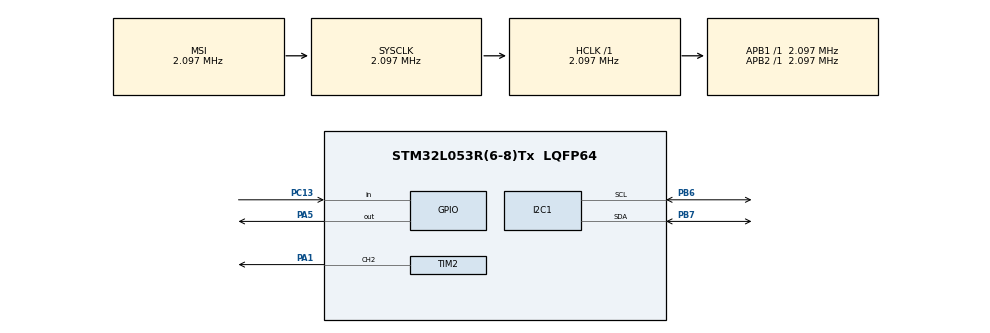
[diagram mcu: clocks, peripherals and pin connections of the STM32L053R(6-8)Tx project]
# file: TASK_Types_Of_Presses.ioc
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Mcu.Family=STM32L0
Mcu.Name=STM32L053R(6-8)Tx
Mcu.Package=LQFP64
PA1.Signal=S_TIM2_CH2
PA13.Mode=Serial_Wire
PA13.Signal=SYS_SWDIO
PA14.Mode=Serial_Wire
PA14.Signal=SYS_SWCLK
PA5.Signal=GPIO_Output
PB6.Mode=I2C
PB6.Signal=I2C1_SCL
PB7.Mode=I2C
PB7.Signal=I2C1_SDA
PC13.Signal=GPIO_Input
PH0-OSC_IN.Mode=HSE-External-Oscillator
PH0-OSC_IN.Signal=RCC_OSC_IN
PH1-OSC_OUT.Mode=HSE-External-Oscillator
PH1-OSC_OUT.Signal=RCC_OSC_OUT
ProjectManager.HeapSize=0x200
ProjectManager.StackSize=0x400
ProjectManager.TargetToolchain=STM32CubeIDE
RCC.AHBFreq_Value=2097000
RCC.APB1Freq_Value=2097000
RCC.APB1TimFreq_Value=2097000
RCC.APB2Freq_Value=2097000
RCC.APB2TimFreq_Value=2097000
RCC.HSE_VALUE=8000000
RCC.HSI16_VALUE=16000000
RCC.HSI48_VALUE=48000000
RCC.HSI_VALUE=16000000
RCC.LSE_VALUE=32768
RCC.MSI_VALUE=2097000
RCC.SYSCLKFreq_VALUE=2097000
RCC.VCOOutputFreq_Value=48000000
SH.S_TIM2_CH2.0=TIM2_CH2,PWM Generation2 CH2
TIM2.Channel-PWM\ Generation2\ CH2=TIM_CHANNEL_2
TIM2.Period=625
TIM2.Prescaler=127
VP_TIM2_VS_ClockSourceINT.Mode=Internal
board=custom

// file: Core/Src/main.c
/* USER CODE BEGIN Header */
/**
  ******************************************************************************
  * @file           : main.c
  * @brief          : Main program body
  ******************************************************************************
  * @attention
  *
  * Copyright (c) 2023 STMicroelectronics.
  * All rights reserved.
  *
  * This software is licensed under terms that can be found in the LICENSE file
  * in the root directory of this software component.
  * If no LICENSE file comes with this software, it is provided AS-IS.
  *
  ******************************************************************************
  */
/* USER CODE END Header */
#include "main.h"

/* USER CODE BEGIN Includes */
#include "fonts.h"
#include "ssd1306.h"
#include "test.h"
/* USER CODE END Includes */

/* USER CODE BEGIN PD */
#define BUTTON_Pin GPIO_PIN_13
#define BUTTON_GPIO_Port GPIOC
#define LED_Pin GPIO_PIN_5
#define LED_GPIO_Port GPIOA
/* USER CODE END PD */

I2C_HandleTypeDef hi2c1;

TIM_HandleTypeDef htim2;

/* USER CODE BEGIN PV */
GPIO_PinState buttonState = GPIO_PIN_RESET;
GPIO_PinState lastButtonState = GPIO_PIN_RESET;
uint32_t buttonPressTime = 0;
uint32_t lastButtonPressTime = 0;
int flag = 0;
/* USER CODE END PV */

void SystemClock_Config(void);
static void MX_GPIO_Init(void);
static void MX_TIM2_Init(void);
static void MX_I2C1_Init(void);

/* USER CODE BEGIN 0 */
void pwm_led(void)
    {
    	for(int x=0; x<1000; x=x+1)
		{
		  __HAL_TIM_SET_COMPARE(&htim2,TIM_CHANNEL_2, x);
		  HAL_Delay(2);
		}
		for(int x=1000; x>0; x=x-1)
		{
		  __HAL_TIM_SET_COMPARE(&htim2,TIM_CHANNEL_2, x);
		  HAL_Delay(2);
		}
    }

void toggle_led(void)
    {
       for(int i=0; i<=2; i++)
	  {
		HAL_GPIO_TogglePin(LED_GPIO_Port, LED_Pin);
		HAL_Delay(500);
	  }
    }
/* USER CODE END 0 */

int main(void)
{

  /* MCU Configuration--------------------------------------------------------*/

  /* Reset of all peripherals, Initializes the Flash interface and the Systick. */
  HAL_Init();

  /* Configure the system clock */
  SystemClock_Config();

  /* Initialize all configured peripherals */
  MX_GPIO_Init();
  MX_TIM2_Init();
  MX_I2C1_Init();
  /* USER CODE BEGIN 2 */
  SSD1306_GotoXY (0,0);
  SSD1306_Puts ("PIXEL ", &Font_16x26, 1);
  SSD1306_GotoXY (10, 30);
  SSD1306_Puts ("EXPERT ", &Font_16x26, 1);
  SSD1306_UpdateScreen();
  HAL_Delay(1500);
  SSD1306_Clear ();
  	   //display

  /* USER CODE END 2 */

  /* Infinite loop */
  while (1)
  {
	  /* USER CODE BEGIN 3 */
	  buttonState = HAL_GPIO_ReadPin(BUTTON_GPIO_Port, BUTTON_Pin);

	        if (buttonState != lastButtonState)
	        {
	            if (buttonState == GPIO_PIN_RESET) // Button pressed
	            {
	                buttonPressTime = HAL_GetTick();

	                if (buttonPressTime - lastButtonPressTime <= 500) // Button pressed twice within 1 second
	                {
	                	SSD1306_Clear ();
						SSD1306_GotoXY (10,30);
						SSD1306_Puts ("DOUBLE PRESS ", &Font_7x10, 1);
						SSD1306_UpdateScreen();
	                	toggle_led();
	                    HAL_Delay(500);
	                    buttonState = HAL_GPIO_ReadPin(BUTTON_GPIO_Port, BUTTON_Pin);
	                }
	                else // Button pressed once
	                {
	                	HAL_GPIO_TogglePin(LED_GPIO_Port, LED_Pin);
	                	SSD1306_GotoXY (10,30);
						SSD1306_Puts ("SINGLE PRESS ", &Font_7x10, 1);
						SSD1306_UpdateScreen();
	                }
	            }
	            else // Button released
	            {
	                if (HAL_GetTick() - buttonPressTime >= 3000) // Button held down for 3 seconds
	                {
	                    flag = 1;
	                }
	            }

	            lastButtonState = buttonState;
	            lastButtonPressTime = buttonPressTime;
	        }

	        if (flag == 1 && buttonState == GPIO_PIN_RESET && HAL_GetTick() - buttonPressTime >= 3000)
	        {
	        	HAL_TIM_PWM_Start(&htim2, TIM_CHANNEL_2);
	        	SSD1306_Clear ();
				SSD1306_GotoXY (10,30);
				SSD1306_Puts ("LONG PRESS ", &Font_7x10, 1);
				SSD1306_UpdateScreen();
	        	pwm_led();
	        }

  }
  /* USER CODE END 3 */
}

void SystemClock_Config(void)
{
  RCC_OscInitTypeDef RCC_OscInitStruct = {0};
  RCC_ClkInitTypeDef RCC_ClkInitStruct = {0};
  RCC_PeriphCLKInitTypeDef PeriphClkInit = {0};

  /** Configure the main internal regulator output voltage
  */
  __HAL_PWR_VOLTAGESCALING_CONFIG(PWR_REGULATOR_VOLTAGE_SCALE1);

  /** Initializes the RCC Oscillators according to the specified parameters
  * in the RCC_OscInitTypeDef structure.
  */
  RCC_OscInitStruct.OscillatorType = RCC_OSCILLATORTYPE_MSI;
  RCC_OscInitStruct.MSIState = RCC_MSI_ON;
  RCC_OscInitStruct.MSICalibrationValue = 0;
  RCC_OscInitStruct.MSIClockRange = RCC_MSIRANGE_5;
  RCC_OscInitStruct.PLL.PLLState = RCC_PLL_NONE;
  if (HAL_RCC_OscConfig(&RCC_OscInitStruct) != HAL_OK)
  {
    Error_Handler();
  }

  /** Initializes the CPU, AHB and APB buses clocks
  */
  RCC_ClkInitStruct.ClockType = RCC_CLOCKTYPE_HCLK|RCC_CLOCKTYPE_SYSCLK
                              |RCC_CLOCKTYPE_PCLK1|RCC_CLOCKTYPE_PCLK2;
  RCC_ClkInitStruct.SYSCLKSource = RCC_SYSCLKSOURCE_MSI;
  RCC_ClkInitStruct.AHBCLKDivider = RCC_SYSCLK_DIV1;
  RCC_ClkInitStruct.APB1CLKDivider = RCC_HCLK_DIV1;
  RCC_ClkInitStruct.APB2CLKDivider = RCC_HCLK_DIV1;

  if (HAL_RCC_ClockConfig(&RCC_ClkInitStruct, FLASH_LATENCY_0) != HAL_OK)
  {
    Error_Handler();
  }
  PeriphClkInit.PeriphClockSelection = RCC_PERIPHCLK_I2C1;
  PeriphClkInit.I2c1ClockSelection = RCC_I2C1CLKSOURCE_PCLK1;
  if (HAL_RCCEx_PeriphCLKConfig(&PeriphClkInit) != HAL_OK)
  {
    Error_Handler();
  }
}

static void MX_I2C1_Init(void)
{

  hi2c1.Instance = I2C1;
  hi2c1.Init.Timing = 0x00000708;
  hi2c1.Init.OwnAddress1 = 0;
  hi2c1.Init.AddressingMode = I2C_ADDRESSINGMODE_7BIT;
  hi2c1.Init.DualAddressMode = I2C_DUALADDRESS_DISABLE;
  hi2c1.Init.OwnAddress2 = 0;
  hi2c1.Init.OwnAddress2Masks = I2C_OA2_NOMASK;
  hi2c1.Init.GeneralCallMode = I2C_GENERALCALL_DISABLE;
  hi2c1.Init.NoStretchMode = I2C_NOSTRETCH_DISABLE;
  if (HAL_I2C_Init(&hi2c1) != HAL_OK)
  {
    Error_Handler();
  }

  /** Configure Analogue filter
  */
  if (HAL_I2CEx_ConfigAnalogFilter(&hi2c1, I2C_ANALOGFILTER_ENABLE) != HAL_OK)
  {
    Error_Handler();
  }

  /** Configure Digital filter
  */
  if (HAL_I2CEx_ConfigDigitalFilter(&hi2c1, 0) != HAL_OK)
  {
    Error_Handler();
  }

}

static void MX_TIM2_Init(void)
{

  TIM_ClockConfigTypeDef sClockSourceConfig = {0};
  TIM_MasterConfigTypeDef sMasterConfig = {0};
  TIM_OC_InitTypeDef sConfigOC = {0};

  htim2.Instance = TIM2;
  htim2.Init.Prescaler = 127;
  htim2.Init.CounterMode = TIM_COUNTERMODE_UP;
  htim2.Init.Period = 625;
  htim2.Init.ClockDivision = TIM_CLOCKDIVISION_DIV1;
  htim2.Init.AutoReloadPreload = TIM_AUTORELOAD_PRELOAD_DISABLE;
  if (HAL_TIM_Base_Init(&htim2) != HAL_OK)
  {
    Error_Handler();
  }
  sClockSourceConfig.ClockSource = TIM_CLOCKSOURCE_INTERNAL;
  if (HAL_TIM_ConfigClockSource(&htim2, &sClockSourceConfig) != HAL_OK)
  {
    Error_Handler();
  }
  if (HAL_TIM_PWM_Init(&htim2) != HAL_OK)
  {
    Error_Handler();
  }
  sMasterConfig.MasterOutputTrigger = TIM_TRGO_RESET;
  sMasterConfig.MasterSlaveMode = TIM_MASTERSLAVEMODE_DISABLE;
  if (HAL_TIMEx_MasterConfigSynchronization(&htim2, &sMasterConfig) != HAL_OK)
  {
    Error_Handler();
  }
  sConfigOC.OCMode = TIM_OCMODE_PWM1;
  sConfigOC.Pulse = 0;
  sConfigOC.OCPolarity = TIM_OCPOLARITY_HIGH;
  sConfigOC.OCFastMode = TIM_OCFAST_DISABLE;
  if (HAL_TIM_PWM_ConfigChannel(&htim2, &sConfigOC, TIM_CHANNEL_2) != HAL_OK)
  {
    Error_Handler();
  }
  HAL_TIM_MspPostInit(&htim2);

}

static void MX_GPIO_Init(void)
{
  GPIO_InitTypeDef GPIO_InitStruct = {0};

  /* GPIO Ports Clock Enable */
  __HAL_RCC_GPIOC_CLK_ENABLE();
  __HAL_RCC_GPIOH_CLK_ENABLE();
  __HAL_RCC_GPIOA_CLK_ENABLE();
  __HAL_RCC_GPIOB_CLK_ENABLE();

  /*Configure GPIO pin Output Level */
  HAL_GPIO_WritePin(GPIOA, GPIO_PIN_5, GPIO_PIN_RESET);

  /*Configure GPIO pin : PC13 */
  GPIO_InitStruct.Pin = GPIO_PIN_13;
  GPIO_InitStruct.Mode = GPIO_MODE_INPUT;
  GPIO_InitStruct.Pull = GPIO_NOPULL;
  HAL_GPIO_Init(GPIOC, &GPIO_InitStruct);

  /*Configure GPIO pin : PA5 */
  GPIO_InitStruct.Pin = GPIO_PIN_5;
  GPIO_InitStruct.Mode = GPIO_MODE_OUTPUT_PP;
  GPIO_InitStruct.Pull = GPIO_NOPULL;
  GPIO_InitStruct.Speed = GPIO_SPEED_FREQ_LOW;
  HAL_GPIO_Init(GPIOA, &GPIO_InitStruct);

}

void Error_Handler(void)
{
  __disable_irq();
  while (1)
  {
  }
}
